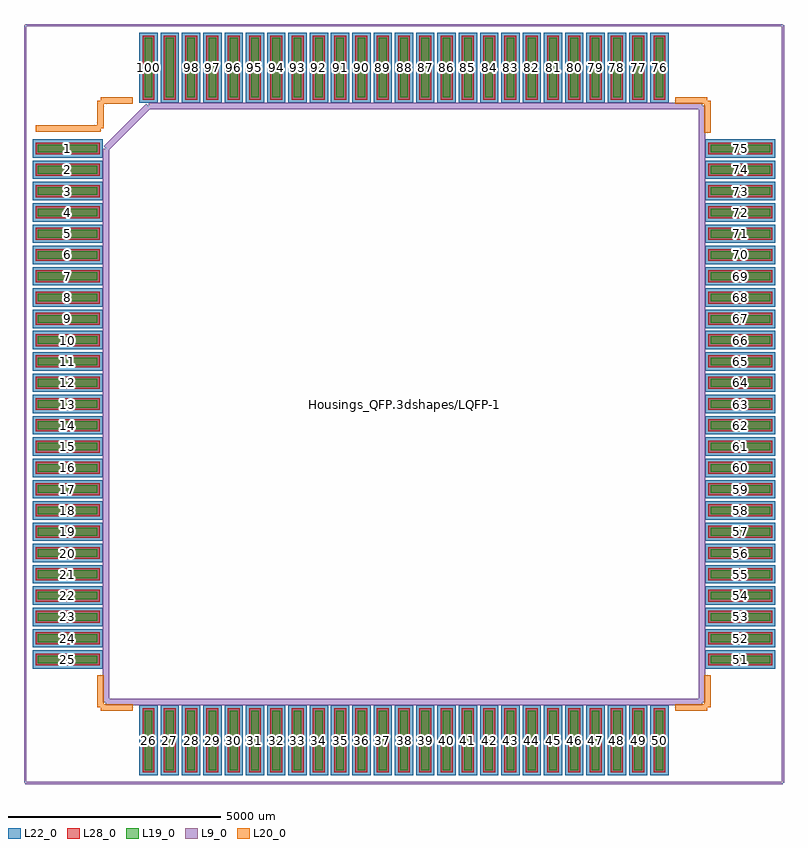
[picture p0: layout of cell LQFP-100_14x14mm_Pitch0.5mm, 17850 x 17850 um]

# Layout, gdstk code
import gdstk
lib = gdstk.Library(unit=1e-6, precision=1e-09)
def R(c, l, rs):  # rectangles x0, y0, x1, y1
    for r in rs: c.add(gdstk.rectangle(r[:2], r[2:], *l))
def A(c, l, x, y, w, h, nx, ny, dx, dy):  # array of equal rectangles
    R(c, l, [(x+i*dx, y+j*dy, x+i*dx+w, y+j*dy+h) for i in range(nx) for j in range(ny)])
L9_0 = (9, 0)
L19_0 = (19, 0)
L20_0 = (20, 0)
L22_0 = (22, 0)
L28_0 = (28, 0)

lqfp_100_14x14mm_pitch0_ = lib.new_cell('LQFP-100_14x14mm_Pitch0.5mm')
A(lqfp_100_14x14mm_pitch0_, L19_0, -6090, -8600, 180, 1400, 25, 2, 500, 15800)
A(lqfp_100_14x14mm_pitch0_, L19_0, -8600, -6090, 1400, 180, 1, 25, 0, 500)
A(lqfp_100_14x14mm_pitch0_, L19_0, 7200, -6090, 1400, 180, 1, 25, 0, 500)
A(lqfp_100_14x14mm_pitch0_, L22_0, -6215, -8725, 430, 1650, 25, 2, 500, 15800)
A(lqfp_100_14x14mm_pitch0_, L22_0, -8725, -6215, 1650, 430, 1, 25, 0, 500)
A(lqfp_100_14x14mm_pitch0_, L22_0, 7075, -6215, 1650, 430, 1, 25, 0, 500)
A(lqfp_100_14x14mm_pitch0_, L28_0, -6140, -8650, 280, 1500, 25, 2, 500, 15800)
A(lqfp_100_14x14mm_pitch0_, L28_0, -8650, -6140, 1500, 280, 1, 25, 0, 500)
A(lqfp_100_14x14mm_pitch0_, L28_0, 7150, -6140, 1500, 280, 1, 25, 0, 500)
lqfp_100_14x14mm_pitch0_.add(gdstk.FlexPath([(-7125,6475),(-8650,6475)], 149.998, ends="flush", simple_path=True, layer=20, datatype=0))  # L20_0
lqfp_100_14x14mm_pitch0_.add(gdstk.FlexPath([(7125,7125),(6365,7125)], 149.998, ends="flush", simple_path=True, layer=20, datatype=0))  # L20_0
lqfp_100_14x14mm_pitch0_.add(gdstk.FlexPath([(7125,-7125),(6365,-7125)], 149.998, ends="flush", simple_path=True, layer=20, datatype=0))  # L20_0
lqfp_100_14x14mm_pitch0_.add(gdstk.FlexPath([(-7125,-7125),(-6365,-7125)], 149.998, ends="flush", simple_path=True, layer=20, datatype=0))  # L20_0
lqfp_100_14x14mm_pitch0_.add(gdstk.FlexPath([(-7125,7125),(-6365,7125)], 149.998, ends="flush", simple_path=True, layer=20, datatype=0))  # L20_0
lqfp_100_14x14mm_pitch0_.add(gdstk.FlexPath([(-7125,-7125),(-7125,-6365)], 149.998, ends="flush", simple_path=True, layer=20, datatype=0))  # L20_0
lqfp_100_14x14mm_pitch0_.add(gdstk.FlexPath([(7125,-7125),(7125,-6365)], 149.998, ends="flush", simple_path=True, layer=20, datatype=0))  # L20_0
lqfp_100_14x14mm_pitch0_.add(gdstk.FlexPath([(7125,7125),(7125,6365)], 149.998, ends="flush", simple_path=True, layer=20, datatype=0))  # L20_0
lqfp_100_14x14mm_pitch0_.add(gdstk.FlexPath([(-7125,7125),(-7125,6475)], 149.998, ends="flush", simple_path=True, layer=20, datatype=0))  # L20_0
lqfp_100_14x14mm_pitch0_.add(gdstk.FlexPath([(-8900,-8900),(8900,-8900)], 50, ends="flush", simple_path=True, layer=9, datatype=0))  # L9_0
lqfp_100_14x14mm_pitch0_.add(gdstk.FlexPath([(-8900,8900),(8900,8900)], 50, ends="flush", simple_path=True, layer=9, datatype=0))  # L9_0
lqfp_100_14x14mm_pitch0_.add(gdstk.FlexPath([(8900,8900),(8900,-8900)], 50, ends="flush", simple_path=True, layer=9, datatype=0))  # L9_0
lqfp_100_14x14mm_pitch0_.add(gdstk.FlexPath([(-8900,8900),(-8900,-8900)], 50, ends="flush", simple_path=True, layer=9, datatype=0))  # L9_0
lqfp_100_14x14mm_pitch0_.add(gdstk.FlexPath([(-7000,6000),(-6000,7000)], 149.998, ends="flush", simple_path=True, layer=9, datatype=0))  # L9_0
lqfp_100_14x14mm_pitch0_.add(gdstk.FlexPath([(-7000,-7000),(-7000,6000)], 149.998, ends="flush", simple_path=True, layer=9, datatype=0))  # L9_0
lqfp_100_14x14mm_pitch0_.add(gdstk.FlexPath([(7000,-7000),(-7000,-7000)], 149.998, ends="flush", simple_path=True, layer=9, datatype=0))  # L9_0
lqfp_100_14x14mm_pitch0_.add(gdstk.FlexPath([(7000,7000),(7000,-7000)], 149.998, ends="flush", simple_path=True, layer=9, datatype=0))  # L9_0
lqfp_100_14x14mm_pitch0_.add(gdstk.FlexPath([(-6000,7000),(7000,7000)], 149.998, ends="flush", simple_path=True, layer=9, datatype=0))  # L9_0
lqfp_100_14x14mm_pitch0_.add(gdstk.Label('Housings_QFP.3dshapes/LQFP-100_14x14mm_Pitch0.5mm.wrl', (0,0), layer=12, texttype=0))
lqfp_100_14x14mm_pitch0_.add(gdstk.Label('100', (-6000,7900), layer=28, texttype=0))
lqfp_100_14x14mm_pitch0_.add(gdstk.Label('99', (-5500,7900), layer=28, texttype=0))
lqfp_100_14x14mm_pitch0_.add(gdstk.Label('98', (-5000,7900), layer=28, texttype=0))
lqfp_100_14x14mm_pitch0_.add(gdstk.Label('97', (-4500,7900), layer=28, texttype=0))
lqfp_100_14x14mm_pitch0_.add(gdstk.Label('96', (-4000,7900), layer=28, texttype=0))
lqfp_100_14x14mm_pitch0_.add(gdstk.Label('95', (-3500,7900), layer=28, texttype=0))
lqfp_100_14x14mm_pitch0_.add(gdstk.Label('94', (-3000,7900), layer=28, texttype=0))
lqfp_100_14x14mm_pitch0_.add(gdstk.Label('93', (-2500,7900), layer=28, texttype=0))
lqfp_100_14x14mm_pitch0_.add(gdstk.Label('92', (-2000,7900), layer=28, texttype=0))
lqfp_100_14x14mm_pitch0_.add(gdstk.Label('91', (-1500,7900), layer=28, texttype=0))
lqfp_100_14x14mm_pitch0_.add(gdstk.Label('90', (-1000,7900), layer=28, texttype=0))
lqfp_100_14x14mm_pitch0_.add(gdstk.Label('89', (-500,7900), layer=28, texttype=0))
lqfp_100_14x14mm_pitch0_.add(gdstk.Label('88', (0,7900), layer=28, texttype=0))
lqfp_100_14x14mm_pitch0_.add(gdstk.Label('87', (500,7900), layer=28, texttype=0))
lqfp_100_14x14mm_pitch0_.add(gdstk.Label('86', (1000,7900), layer=28, texttype=0))
lqfp_100_14x14mm_pitch0_.add(gdstk.Label('85', (1500,7900), layer=28, texttype=0))
lqfp_100_14x14mm_pitch0_.add(gdstk.Label('84', (2000,7900), layer=28, texttype=0))
lqfp_100_14x14mm_pitch0_.add(gdstk.Label('83', (2500,7900), layer=28, texttype=0))
lqfp_100_14x14mm_pitch0_.add(gdstk.Label('82', (3000,7900), layer=28, texttype=0))
lqfp_100_14x14mm_pitch0_.add(gdstk.Label('81', (3500,7900), layer=28, texttype=0))
lqfp_100_14x14mm_pitch0_.add(gdstk.Label('80', (4000,7900), layer=28, texttype=0))
lqfp_100_14x14mm_pitch0_.add(gdstk.Label('79', (4500,7900), layer=28, texttype=0))
lqfp_100_14x14mm_pitch0_.add(gdstk.Label('78', (5000,7900), layer=28, texttype=0))
lqfp_100_14x14mm_pitch0_.add(gdstk.Label('77', (5500,7900), layer=28, texttype=0))
lqfp_100_14x14mm_pitch0_.add(gdstk.Label('76', (6000,7900), layer=28, texttype=0))
lqfp_100_14x14mm_pitch0_.add(gdstk.Label('75', (7900,6000), layer=28, texttype=0))
lqfp_100_14x14mm_pitch0_.add(gdstk.Label('74', (7900,5500), layer=28, texttype=0))
lqfp_100_14x14mm_pitch0_.add(gdstk.Label('73', (7900,5000), layer=28, texttype=0))
lqfp_100_14x14mm_pitch0_.add(gdstk.Label('72', (7900,4500), layer=28, texttype=0))
lqfp_100_14x14mm_pitch0_.add(gdstk.Label('71', (7900,4000), layer=28, texttype=0))
lqfp_100_14x14mm_pitch0_.add(gdstk.Label('70', (7900,3500), layer=28, texttype=0))
lqfp_100_14x14mm_pitch0_.add(gdstk.Label('69', (7900,3000), layer=28, texttype=0))
lqfp_100_14x14mm_pitch0_.add(gdstk.Label('68', (7900,2500), layer=28, texttype=0))
lqfp_100_14x14mm_pitch0_.add(gdstk.Label('67', (7900,2000), layer=28, texttype=0))
lqfp_100_14x14mm_pitch0_.add(gdstk.Label('66', (7900,1500), layer=28, texttype=0))
lqfp_100_14x14mm_pitch0_.add(gdstk.Label('65', (7900,1000), layer=28, texttype=0))
lqfp_100_14x14mm_pitch0_.add(gdstk.Label('64', (7900,500), layer=28, texttype=0))
lqfp_100_14x14mm_pitch0_.add(gdstk.Label('63', (7900,0), layer=28, texttype=0))
lqfp_100_14x14mm_pitch0_.add(gdstk.Label('62', (7900,-500), layer=28, texttype=0))
lqfp_100_14x14mm_pitch0_.add(gdstk.Label('61', (7900,-1000), layer=28, texttype=0))
lqfp_100_14x14mm_pitch0_.add(gdstk.Label('60', (7900,-1500), layer=28, texttype=0))
lqfp_100_14x14mm_pitch0_.add(gdstk.Label('59', (7900,-2000), layer=28, texttype=0))
lqfp_100_14x14mm_pitch0_.add(gdstk.Label('58', (7900,-2500), layer=28, texttype=0))
lqfp_100_14x14mm_pitch0_.add(gdstk.Label('57', (7900,-3000), layer=28, texttype=0))
lqfp_100_14x14mm_pitch0_.add(gdstk.Label('56', (7900,-3500), layer=28, texttype=0))
lqfp_100_14x14mm_pitch0_.add(gdstk.Label('55', (7900,-4000), layer=28, texttype=0))
lqfp_100_14x14mm_pitch0_.add(gdstk.Label('54', (7900,-4500), layer=28, texttype=0))
lqfp_100_14x14mm_pitch0_.add(gdstk.Label('53', (7900,-5000), layer=28, texttype=0))
lqfp_100_14x14mm_pitch0_.add(gdstk.Label('52', (7900,-5500), layer=28, texttype=0))
lqfp_100_14x14mm_pitch0_.add(gdstk.Label('51', (7900,-6000), layer=28, texttype=0))
lqfp_100_14x14mm_pitch0_.add(gdstk.Label('50', (6000,-7900), layer=28, texttype=0))
lqfp_100_14x14mm_pitch0_.add(gdstk.Label('49', (5500,-7900), layer=28, texttype=0))
lqfp_100_14x14mm_pitch0_.add(gdstk.Label('48', (5000,-7900), layer=28, texttype=0))
lqfp_100_14x14mm_pitch0_.add(gdstk.Label('47', (4500,-7900), layer=28, texttype=0))
lqfp_100_14x14mm_pitch0_.add(gdstk.Label('46', (4000,-7900), layer=28, texttype=0))
lqfp_100_14x14mm_pitch0_.add(gdstk.Label('45', (3500,-7900), layer=28, texttype=0))
lqfp_100_14x14mm_pitch0_.add(gdstk.Label('44', (3000,-7900), layer=28, texttype=0))
lqfp_100_14x14mm_pitch0_.add(gdstk.Label('43', (2500,-7900), layer=28, texttype=0))
lqfp_100_14x14mm_pitch0_.add(gdstk.Label('42', (2000,-7900), layer=28, texttype=0))
lqfp_100_14x14mm_pitch0_.add(gdstk.Label('41', (1500,-7900), layer=28, texttype=0))
lqfp_100_14x14mm_pitch0_.add(gdstk.Label('40', (1000,-7900), layer=28, texttype=0))
lqfp_100_14x14mm_pitch0_.add(gdstk.Label('39', (500,-7900), layer=28, texttype=0))
lqfp_100_14x14mm_pitch0_.add(gdstk.Label('38', (0,-7900), layer=28, texttype=0))
lqfp_100_14x14mm_pitch0_.add(gdstk.Label('37', (-500,-7900), layer=28, texttype=0))
lqfp_100_14x14mm_pitch0_.add(gdstk.Label('36', (-1000,-7900), layer=28, texttype=0))
lqfp_100_14x14mm_pitch0_.add(gdstk.Label('35', (-1500,-7900), layer=28, texttype=0))
lqfp_100_14x14mm_pitch0_.add(gdstk.Label('34', (-2000,-7900), layer=28, texttype=0))
lqfp_100_14x14mm_pitch0_.add(gdstk.Label('33', (-2500,-7900), layer=28, texttype=0))
lqfp_100_14x14mm_pitch0_.add(gdstk.Label('32', (-3000,-7900), layer=28, texttype=0))
lqfp_100_14x14mm_pitch0_.add(gdstk.Label('31', (-3500,-7900), layer=28, texttype=0))
lqfp_100_14x14mm_pitch0_.add(gdstk.Label('30', (-4000,-7900), layer=28, texttype=0))
lqfp_100_14x14mm_pitch0_.add(gdstk.Label('29', (-4500,-7900), layer=28, texttype=0))
lqfp_100_14x14mm_pitch0_.add(gdstk.Label('28', (-5000,-7900), layer=28, texttype=0))
lqfp_100_14x14mm_pitch0_.add(gdstk.Label('27', (-5500,-7900), layer=28, texttype=0))
lqfp_100_14x14mm_pitch0_.add(gdstk.Label('26', (-6000,-7900), layer=28, texttype=0))
lqfp_100_14x14mm_pitch0_.add(gdstk.Label('25', (-7900,-6000), layer=28, texttype=0))
lqfp_100_14x14mm_pitch0_.add(gdstk.Label('24', (-7900,-5500), layer=28, texttype=0))
lqfp_100_14x14mm_pitch0_.add(gdstk.Label('23', (-7900,-5000), layer=28, texttype=0))
lqfp_100_14x14mm_pitch0_.add(gdstk.Label('22', (-7900,-4500), layer=28, texttype=0))
lqfp_100_14x14mm_pitch0_.add(gdstk.Label('21', (-7900,-4000), layer=28, texttype=0))
lqfp_100_14x14mm_pitch0_.add(gdstk.Label('20', (-7900,-3500), layer=28, texttype=0))
lqfp_100_14x14mm_pitch0_.add(gdstk.Label('19', (-7900,-3000), layer=28, texttype=0))
lqfp_100_14x14mm_pitch0_.add(gdstk.Label('18', (-7900,-2500), layer=28, texttype=0))
lqfp_100_14x14mm_pitch0_.add(gdstk.Label('17', (-7900,-2000), layer=28, texttype=0))
lqfp_100_14x14mm_pitch0_.add(gdstk.Label('16', (-7900,-1500), layer=28, texttype=0))
lqfp_100_14x14mm_pitch0_.add(gdstk.Label('15', (-7900,-1000), layer=28, texttype=0))
lqfp_100_14x14mm_pitch0_.add(gdstk.Label('14', (-7900,-500), layer=28, texttype=0))
lqfp_100_14x14mm_pitch0_.add(gdstk.Label('13', (-7900,0), layer=28, texttype=0))
lqfp_100_14x14mm_pitch0_.add(gdstk.Label('12', (-7900,500), layer=28, texttype=0))
lqfp_100_14x14mm_pitch0_.add(gdstk.Label('11', (-7900,1000), layer=28, texttype=0))
lqfp_100_14x14mm_pitch0_.add(gdstk.Label('10', (-7900,1500), layer=28, texttype=0))
lqfp_100_14x14mm_pitch0_.add(gdstk.Label('9', (-7900,2000), layer=28, texttype=0))
lqfp_100_14x14mm_pitch0_.add(gdstk.Label('8', (-7900,2500), layer=28, texttype=0))
lqfp_100_14x14mm_pitch0_.add(gdstk.Label('7', (-7900,3000), layer=28, texttype=0))
lqfp_100_14x14mm_pitch0_.add(gdstk.Label('6', (-7900,3500), layer=28, texttype=0))
lqfp_100_14x14mm_pitch0_.add(gdstk.Label('5', (-7900,4000), layer=28, texttype=0))
lqfp_100_14x14mm_pitch0_.add(gdstk.Label('4', (-7900,4500), layer=28, texttype=0))
lqfp_100_14x14mm_pitch0_.add(gdstk.Label('3', (-7900,5000), layer=28, texttype=0))
lqfp_100_14x14mm_pitch0_.add(gdstk.Label('2', (-7900,5500), layer=28, texttype=0))
lqfp_100_14x14mm_pitch0_.add(gdstk.Label('1', (-7900,6000), layer=28, texttype=0))
lqfp_100_14x14mm_pitch0_.add(gdstk.Label('%R', (0,0), layer=9, texttype=0))
lqfp_100_14x14mm_pitch0_.add(gdstk.Label('type', (0,-9650), layer=9, texttype=0))
lqfp_100_14x14mm_pitch0_.add(gdstk.Label('devicename', (0,9650), layer=9, texttype=0))

lib.write_gds('LQFP-100_14x14mm_Pitch0.5mm.gds')
